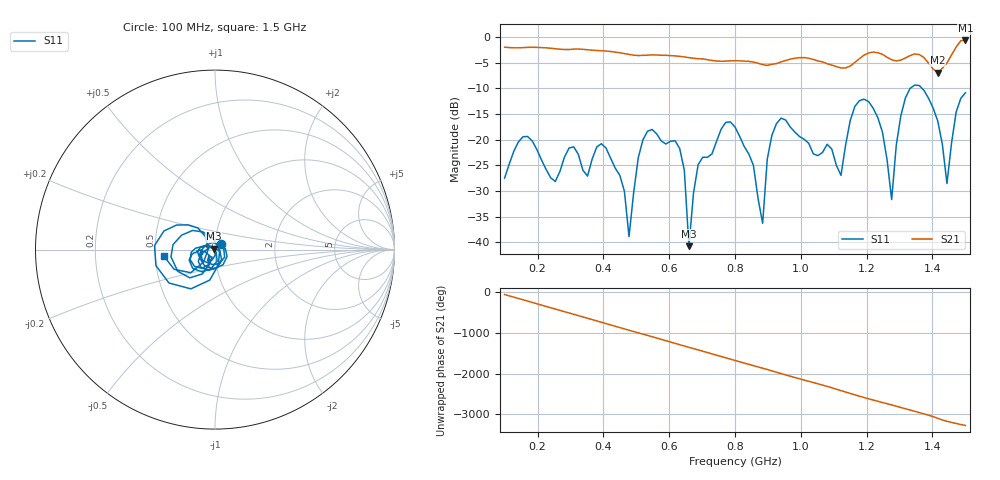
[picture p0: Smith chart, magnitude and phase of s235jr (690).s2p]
! NanoVNA-App
! Date: 2025-09-25 15:09:32
! Start: 100MHz Stop: 1,5GHz Points: 101
! S-Parameter data: F S11 S21 S12 S22
# Hz S RI R 50
!  Frequency  S11_Real  S11_Imag  S21_Real  S21_Imag  S12_Real  S12_Imag  S22_Real  S22_Imag
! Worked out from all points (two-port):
!   101 points, 100 MHz to 1.5 GHz, reference 50 ohm
!   highest |S21| = -0.65 dB at 1.5 GHz (marker M1); lowest = -6.9 dB at 1.416 GHz (marker M2)
!   |S21| within 3 dB of the highest: start of sweep to 615.2 MHz; 1.189 GHz to 1.255 GHz (65.89 MHz wide, 5.39 % of centre) (the widest 2 of 4)
!   lowest |S11| = -40.7 dB at 660 MHz (marker M3), VSWR 1.02, Z = 49.3 + j0.54 ohm
!   |S11| at or under -10 dB: start of sweep to 1.332 GHz; 1.368 GHz to end of sweep
!   S12 and S22 are empty: the file has one direction only
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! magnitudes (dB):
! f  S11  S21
! 100 MHz  -27.5  -2.0
! 156 MHz  -19.4  -2.0
! 338 MHz  -26.0  -2.4
! 408 MHz  -21.6  -2.7
! 478 MHz  -38.9  -3.4
! 520 MHz  -20.1  -3.6
! 576 MHz  -20.2  -3.5
! 632 MHz  -21.7  -3.7
! 660 MHz  -40.7  -4.0
! 688 MHz  -24.9  -4.2
! 800 MHz  -17.5  -4.6
! 884 MHz  -36.3  -5.4
! 926 MHz  -16.9  -5.2
! 1.038 GHz  -22.8  -4.4
! 1.122 GHz  -26.9  -6.0
! 1.164 GHz  -13.5  -4.9
! 1.206 GHz  -12.6  -3.1
! 1.276 GHz  -31.7  -4.4
! 1.332 GHz  -10.0  -3.6
! 1.416 GHz  -16.3  -6.9
! 1.444 GHz  -28.5  -5.0
! 1.5 GHz  -10.8  -0.6
